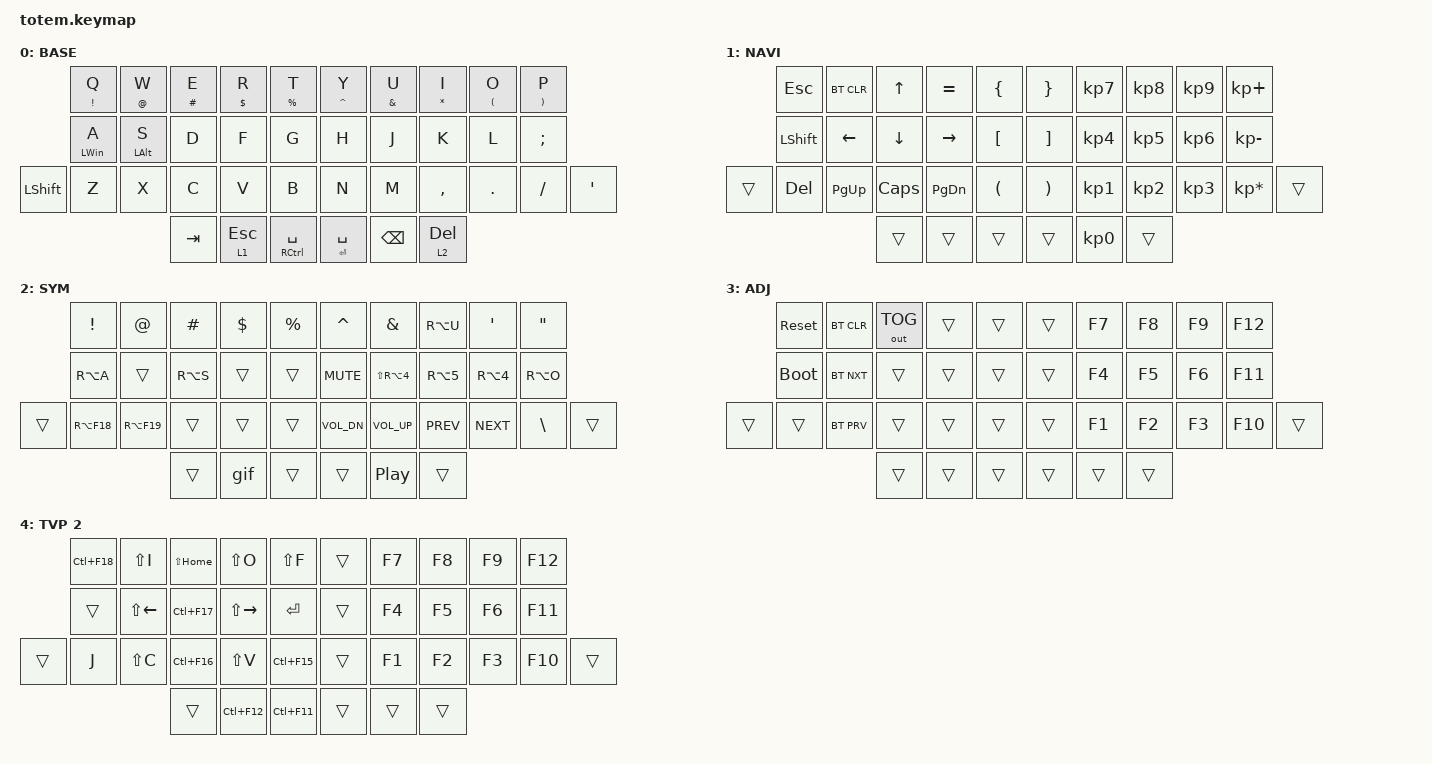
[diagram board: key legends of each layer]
//
//                                                        ▀▀▀▀▀     ▀▀▀▀▀          ▀▀█▀▀
//                                                        ▄▀▀▀▄  ▄  ▄▀▀▀▄  ▄  ▄▀▀▀▄  █  ▄▀▀▀▄
//                                                        █   █  █  █   █  █  █   █  █  █   █
//                                                         ▀▀▀   █   ▀▀▀   █   ▀▀▀   ▀   ▀▀▀
//                                                               █      ▄▄▄█▄▄▄    █   █  
//                                                               ▀      █  █  █     █▄█
//                                                             ▀▀▀▀▀    █  █  █      ▀
//                                                                      ▀  ▀  ▀
//
// ▄▄▄▄▄▄▄▄▄▄▄▄▄▄▄▄▄▄▄▄▄▄▄▄▄▄▄▄▄▄▄▄▄▄▄▄▄▄▄▄▄▄▄▄▄▄▄▄▄▄▄▄▄▄▄▄▄▄▄▄▄▄▄▄▄▄▄▄▄▄▄▄▄▄▄▄▄▄▄▄▄▄▄▄▄▄▄▄▄▄▄▄▄▄▄▄▄▄▄▄▄▄▄▄▄▄▄▄▄▄▄▄▄▄▄▄▄▄▄▄▄▄▄▄▄▄▄▄▄▄▄▄▄▄▄▄▄▄▄▄▄▄▄▄▄▄▄▄▄

#include <behaviors.dtsi>
#include <dt-bindings/zmk/bt.h>
#include <dt-bindings/zmk/keys.h>
#include <dt-bindings/zmk/outputs.h>

#define BASE 0
#define NAV  1
#define SYM  2
#define ADJ  3
#define TVP1 4
#define TVP2 5

&mt {
    quick-tap-ms = <100>;
    global-quick-tap;
    flavor = "tap-preferred";
    tapping-term-ms = <300>;
};

/ {
    combos {
        compatible = "zmk,combos";

        combo_capture {
            timeout-ms = <50>;
            key-positions = <13 14>;
            bindings = <&kp LG(LS(S))>;
        };

        combo_tvp {
            timeout-ms = <100>;
            key-positions = <11 12 13>;
            bindings = <&tog 0>;
        };
    };

    macros {
        gif: gif {
            label = "giphy";
            compatible = "zmk,behavior-macro";
            #binding-cells = <0>;
            bindings =
                <&macro_press>,
                <&kp LSHFT>,
                <&macro_tap>,
                <&kp N2>,
                <&macro_release>,
                <&kp LSHFT>,
                <&macro_tap>,
                <&kp G &kp I &kp F>;
        };
    };

    keymap {
        compatible = "zmk,keymap";

        // ▄▄▄▄▄▄▄▄▄▄▄▄▄▄▄▄▄▄▄▄▄▄▄▄▄▄▄▄▄▄▄▄▄▄▄▄▄▄▄▄▄▄▄▄▄▄▄▄▄▄▄▄▄▄▄▄▄▄▄▄▄▄▄▄▄▄▄▄▄▄▄▄▄▄▄▄▄▄▄▄▄▄▄▄▄▄▄▄▄▄▄▄▄▄▄▄▄▄▄▄▄▄▄▄▄▄▄▄▄▄▄▄▄▄▄▄▄▄▄▄▄▄▄▄▄▄▄▄▄▄▄▄▄▄▄▄▄▄▄▄▄▄▄▄▄▄▄▄▄

        base_layer {
            // ┏━━━━━━━━━━━━━━━━━━━━━━━━━━━━━━━━━━━━━━━┓

            label = "BASE";

            // ┗━━━━━━━━━━━━━━━━━━━━━━━━━━━━━━━━━━━━━━━┛
            //             ┏━━━━━━━━━━━┳━━━━━━━━━━━┳━━━━━━━━━━━┳━━━━━━━━━━━┳━━━━━━━━━━━┓   ┏━━━━━━━━━━━┳━━━━━━━━━━━┳━━━━━━━━━━━┳━━━━━━━━━━━┳━━━━━━━━━━━┓
            //             ┃     Q     ┃     W     ┃     F     ┃     P     ┃     G     ┃   ┃     J     ┃     L     ┃     U     ┃     Y     ┃     ;     ┃
            //             ┣━━━━━━━━━━━╋━━━━━━━━━━━╋━━━━━━━━━━━╋━━━━━━━━━━━╋━━━━━━━━━━━┫   ┣━━━━━━━━━━━╋━━━━━━━━━━━╋━━━━━━━━━━━╋━━━━━━━━━━━╋━━━━━━━━━━━┫
            //             ┃     A     ┃     R     ┃     S     ┃     T     ┃     D     ┃   ┃     H     ┃     N     ┃     E     ┃     I     ┃     O     ┃
            // ┏━━━━━━━━━━━╋━━━━━━━━━━━╋━━━━━━━━━━━╋━━━━━━━━━━━╋━━━━━━━━━━━╋━━━━━━━━━━━┫   ┣━━━━━━━━━━━╋━━━━━━━━━━━╋━━━━━━━━━━━╋━━━━━━━━━━━╋━━━━━━━━━━━╋━━━━━━━━━━━┓
            // ┃     Q     ┃     Z     ┃     X     ┃     C     ┃     V     ┃     B     ┃   ┃     K     ┃     M     ┃     ,     ┃     .     ┃     /     ┃     \     ┃
            // ┗━━━━━━━━━━━┻━━━━━━━━━━━┻━━━━━━━━━━━╋━━━━━━━━━━━╋━━━━━━━━━━━╋━━━━━━━━━━━┫   ┣━━━━━━━━━━━╋━━━━━━━━━━━╋━━━━━━━━━━━╋━━━━━━━━━━━┻━━━━━━━━━━━┻━━━━━━━━━━━┛
            //                                     ┃    DEL    ┃    TAB    ┃    SPC    ┃   ┃   ENTER   ┃           ┃   BSPC    ┃
            //                                     ┗━━━━━━━━━━━┻━━━━━━━━━━━┻━━━━━━━━━━━┛   ┗━━━━━━━━━━━┻━━━━━━━━━━━┻━━━━━━━━━━━┛

            bindings = <
                &mt EXCLAMATION Q  &mt AT_SIGN W   &mt HASH E  &mt DOLLAR R  &mt PERCENT T              &mt CARET Y    &mt AMPERSAND U  &mt ASTERISK I  &mt LEFT_PARENTHESIS O  &mt RIGHT_PARENTHESIS P
                &mt LEFT_WIN A     &mt LEFT_ALT S  &kp D       &kp F         &kp G                      &kp H          &kp J            &kp K           &kp L                   &kp SEMICOLON
&kp LEFT_SHIFT  &kp Z              &kp X           &kp C       &kp V         &kp B                      &kp N          &kp M            &kp COMMA       &kp PERIOD              &kp SLASH                &kp SQT
                                                   &kp TAB     &lt 1 ESCAPE  &mt RIGHT_CONTROL SPACE    &mt RET SPACE  &kp BACKSPACE    &lt 2 DEL
            >;
        };

        // ▄▄▄▄▄▄▄▄▄▄▄▄▄▄▄▄▄▄▄▄▄▄▄▄▄▄▄▄▄▄▄▄▄▄▄▄▄▄▄▄▄▄▄▄▄▄▄▄▄▄▄▄▄▄▄▄▄▄▄▄▄▄▄▄▄▄▄▄▄▄▄▄▄▄▄▄▄▄▄▄▄▄▄▄▄▄▄▄▄▄▄▄▄▄▄▄▄▄▄▄▄▄▄▄▄▄▄▄▄▄▄▄▄▄▄▄▄▄▄▄▄▄▄▄▄▄▄▄▄▄▄▄▄▄▄▄▄▄▄▄▄▄▄▄▄▄▄▄▄

        nav_layer {
            // ┏━━━━━━━━━━━━━━━━━━━━━━━━━━━━━━━━━━━━━━━┓

            label = "NAVI";

            // ┗━━━━━━━━━━━━━━━━━━━━━━━━━━━━━━━━━━━━━━━┛
            //             ┏━━━━━━━━━━━┳━━━━━━━━━━━┳━━━━━━━━━━━┳━━━━━━━━━━━┳━━━━━━━━━━━┓   ┏━━━━━━━━━━━┳━━━━━━━━━━━┳━━━━━━━━━━━┳━━━━━━━━━━━┳━━━━━━━━━━━┓
            //             ┃           ┃           ┃     UP    ┃           ┃     {     ┃   ┃     }     ┃     7     ┃     8     ┃     9     ┃     +     ┃
            //             ┣━━━━━━━━━━━╋━━━━━━━━━━━╋━━━━━━━━━━━╋━━━━━━━━━━━╋━━━━━━━━━━━┫   ┣━━━━━━━━━━━╋━━━━━━━━━━━╋━━━━━━━━━━━╋━━━━━━━━━━━╋━━━━━━━━━━━┫
            //             ┃   SHIFT   ┃   LEFT    ┃    DOWN   ┃   RIGHT   ┃     [     ┃   ┃     ]     ┃     4     ┃     5     ┃     6     ┃     -     ┃
            // ┏━━━━━━━━━━━╋━━━━━━━━━━━╋━━━━━━━━━━━╋━━━━━━━━━━━╋━━━━━━━━━━━╋━━━━━━━━━━━┫   ┣━━━━━━━━━━━╋━━━━━━━━━━━╋━━━━━━━━━━━╋━━━━━━━━━━━╋━━━━━━━━━━━╋━━━━━━━━━━━┓
            // ┃           ┃           ┃   P UP    ┃  C LOCK   ┃  P DOWN   ┃     (     ┃   ┃     )     ┃     1     ┃     2     ┃     3     ┃     *     ┃           ┃
            // ┗━━━━━━━━━━━┻━━━━━━━━━━━┻━━━━━━━━━━━╋━━━━━━━━━━━╋━━━━━━━━━━━╋━━━━━━━━━━━┫   ┣━━━━━━━━━━━╋━━━━━━━━━━━╋━━━━━━━━━━━╋━━━━━━━━━━━┻━━━━━━━━━━━┻━━━━━━━━━━━┛
            //                                     ┃           ┃    TAB    ┃    SPC    ┃   ┃    DEL    ┃     0     ┃           ┃
            //                                     ┗━━━━━━━━━━━┻━━━━━━━━━━━┻━━━━━━━━━━━┛   ┗━━━━━━━━━━━┻━━━━━━━━━━━┻━━━━━━━━━━━┛

            bindings = <
        &kp ESC    &bt BT_CLR  &kp UP    &kp EQUAL  &kp LBRC    &kp RBRC  &kp KP_N7  &kp KP_N8  &kp KP_N9  &kp KP_PLUS
        &kp LSHFT  &kp LEFT    &kp DOWN  &kp RIGHT  &kp LBKT    &kp RBKT  &kp KP_N4  &kp KP_N5  &kp KP_N6  &kp KP_MINUS
&trans  &kp DEL    &kp PG_UP   &kp CAPS  &kp PG_DN  &kp LPAR    &kp RPAR  &kp KP_N1  &kp KP_N2  &kp KP_N3  &kp KP_MULTIPLY  &trans
                               &trans    &trans     &trans      &trans    &kp KP_N0  &trans
            >;
        };

        // ▄▄▄▄▄▄▄▄▄▄▄▄▄▄▄▄▄▄▄▄▄▄▄▄▄▄▄▄▄▄▄▄▄▄▄▄▄▄▄▄▄▄▄▄▄▄▄▄▄▄▄▄▄▄▄▄▄▄▄▄▄▄▄▄▄▄▄▄▄▄▄▄▄▄▄▄▄▄▄▄▄▄▄▄▄▄▄▄▄▄▄▄▄▄▄▄▄▄▄▄▄▄▄▄▄▄▄▄▄▄▄▄▄▄▄▄▄▄▄▄▄▄▄▄▄▄▄▄▄▄▄▄▄▄▄▄▄▄▄▄▄▄▄▄▄▄▄▄▄

        sim_layer {
            // ┏━━━━━━━━━━━━━━━━━━━━━━━━━━━━━━━━━━━━━━━┓

            label = "SYM";

            // ┗━━━━━━━━━━━━━━━━━━━━━━━━━━━━━━━━━━━━━━━┛
            //             ┏━━━━━━━━━━━┳━━━━━━━━━━━┳━━━━━━━━━━━┳━━━━━━━━━━━┳━━━━━━━━━━━┓   ┏━━━━━━━━━━━┳━━━━━━━━━━━┳━━━━━━━━━━━┳━━━━━━━━━━━┳━━━━━━━━━━━┓
            //             ┃     !     ┃     @     ┃     #     ┃     $     ┃     %     ┃   ┃     ˆ     ┃     &     ┃     Ü     ┃     '     ┃     "     ┃
            //             ┣━━━━━━━━━━━╋━━━━━━━━━━━╋━━━━━━━━━━━╋━━━━━━━━━━━╋━━━━━━━━━━━┫   ┣━━━━━━━━━━━╋━━━━━━━━━━━╋━━━━━━━━━━━╋━━━━━━━━━━━╋━━━━━━━━━━━┫
            //             ┃     Ä     ┃           ┃    SZ     ┃           ┃           ┃   ┃   MUTE    ┃   YEN     ┃   EURO    ┃  POUND    ┃     Ö     ┃
            // ┏━━━━━━━━━━━╋━━━━━━━━━━━╋━━━━━━━━━━━╋━━━━━━━━━━━╋━━━━━━━━━━━╋━━━━━━━━━━━┫   ┣━━━━━━━━━━━╋━━━━━━━━━━━╋━━━━━━━━━━━╋━━━━━━━━━━━╋━━━━━━━━━━━╋━━━━━━━━━━━┓
            // ┃           ┃  EMAIL1   ┃  EMAIL2   ┃           ┃           ┃           ┃   ┃   VOL-    ┃   VOL+    ┃   LAST    ┃   NEXT    ┃     \     ┃           ┃
            // ┗━━━━━━━━━━━┻━━━━━━━━━━━┻━━━━━━━━━━━╋━━━━━━━━━━━╋━━━━━━━━━━━╋━━━━━━━━━━━┫   ┣━━━━━━━━━━━╋━━━━━━━━━━━╋━━━━━━━━━━━╋━━━━━━━━━━━┻━━━━━━━━━━━┻━━━━━━━━━━━┛
            //                                     ┃           ┃    GIF    ┃    ADJ    ┃   ┃           ┃           ┃           ┃
            //                                     ┗━━━━━━━━━━━┻━━━━━━━━━━━┻━━━━━━━━━━━┛   ┗━━━━━━━━━━━┻━━━━━━━━━━━┻━━━━━━━━━━━┛

            bindings = <
        &kp EXCL     &kp AT       &kp HASH   &kp DLLR  &kp PRCNT    &kp CARET     &kp AMPS        &kp RA(U)   &kp SQT     &kp DQT
        &kp RA(A)    &trans       &kp RA(S)  &trans    &trans       &kp C_MUTE    &kp LS(RA(N4))  &kp RA(N5)  &kp RA(N4)  &kp RA(O)
&trans  &kp RA(F18)  &kp RA(F19)  &trans     &trans    &trans       &kp C_VOL_DN  &kp C_VOL_UP    &kp C_PREV  &kp C_NEXT  &kp BSLH   &trans
                                  &trans     &gif      &trans       &trans        &kp C_PP        &trans
            >;
        };

        // ▄▄▄▄▄▄▄▄▄▄▄▄▄▄▄▄▄▄▄▄▄▄▄▄▄▄▄▄▄▄▄▄▄▄▄▄▄▄▄▄▄▄▄▄▄▄▄▄▄▄▄▄▄▄▄▄▄▄▄▄▄▄▄▄▄▄▄▄▄▄▄▄▄▄▄▄▄▄▄▄▄▄▄▄▄▄▄▄▄▄▄▄▄▄▄▄▄▄▄▄▄▄▄▄▄▄▄▄▄▄▄▄▄▄▄▄▄▄▄▄▄▄▄▄▄▄▄▄▄▄▄▄▄▄▄▄▄▄▄▄▄▄▄▄▄▄▄▄▄

        adjust_layer {
            // ┏━━━━━━━━━━━━━━━━━━━━━━━━━━━━━━━━━━━━━━━┓

            label = "ADJ";

            // ┗━━━━━━━━━━━━━━━━━━━━━━━━━━━━━━━━━━━━━━━┛
            //             ┏━━━━━━━━━━━┳━━━━━━━━━━━┳━━━━━━━━━━━┳━━━━━━━━━━━┳━━━━━━━━━━━┓   ┏━━━━━━━━━━━┳━━━━━━━━━━━┳━━━━━━━━━━━┳━━━━━━━━━━━┳━━━━━━━━━━━┓
            //             ┃   RESET   ┃ BT CLEAR  ┃  OUT TOG  ┃           ┃           ┃   ┃           ┃    F7     ┃    F8     ┃    F9     ┃    F12    ┃
            //             ┣━━━━━━━━━━━╋━━━━━━━━━━━╋━━━━━━━━━━━╋━━━━━━━━━━━╋━━━━━━━━━━━┫   ┣━━━━━━━━━━━╋━━━━━━━━━━━╋━━━━━━━━━━━╋━━━━━━━━━━━╋━━━━━━━━━━━┫
            //             ┃ BOOTLOAD  ┃ BT NEXT   ┃           ┃           ┃           ┃   ┃           ┃    F4     ┃    F5     ┃    F6     ┃    F11    ┃
            // ┏━━━━━━━━━━━╋━━━━━━━━━━━╋━━━━━━━━━━━╋━━━━━━━━━━━╋━━━━━━━━━━━╋━━━━━━━━━━━┫   ┣━━━━━━━━━━━╋━━━━━━━━━━━╋━━━━━━━━━━━╋━━━━━━━━━━━╋━━━━━━━━━━━╋━━━━━━━━━━━┓
            // ┃           ┃           ┃ BT PREV   ┃           ┃           ┃           ┃   ┃           ┃    F1     ┃    F2     ┃    F3     ┃    F10    ┃           ┃
            // ┗━━━━━━━━━━━┻━━━━━━━━━━━┻━━━━━━━━━━━╋━━━━━━━━━━━╋━━━━━━━━━━━╋━━━━━━━━━━━┫   ┣━━━━━━━━━━━╋━━━━━━━━━━━╋━━━━━━━━━━━╋━━━━━━━━━━━┻━━━━━━━━━━━┻━━━━━━━━━━━┛
            //                                     ┃           ┃           ┃           ┃   ┃           ┃           ┃           ┃
            //                                     ┗━━━━━━━━━━━┻━━━━━━━━━━━┻━━━━━━━━━━━┛   ┗━━━━━━━━━━━┻━━━━━━━━━━━┻━━━━━━━━━━━┛

            bindings = <
        &sys_reset   &bt BT_CLR  &out OUT_TOG  &trans  &trans    &trans  &kp F7  &kp F8  &kp F9  &kp F12
        &bootloader  &bt BT_NXT  &trans        &trans  &trans    &trans  &kp F4  &kp F5  &kp F6  &kp F11
&trans  &trans       &bt BT_PRV  &trans        &trans  &trans    &trans  &kp F1  &kp F2  &kp F3  &kp F10  &trans
                                 &trans        &trans  &trans    &trans  &trans  &trans
            >;
        };

        // ▄▄▄▄▄▄▄▄▄▄▄▄▄▄▄▄▄▄▄▄▄▄▄▄▄▄▄▄▄▄▄▄▄▄▄▄▄▄▄▄▄▄▄▄▄▄▄▄▄▄▄▄▄▄▄▄▄▄▄▄▄▄▄▄▄▄▄▄▄▄▄▄▄▄▄▄▄▄▄▄▄▄▄▄▄▄▄▄▄▄▄▄▄▄▄▄▄▄▄▄▄▄▄▄▄▄▄▄▄▄▄▄▄▄▄▄▄▄▄▄▄▄▄▄▄▄▄▄▄▄▄▄▄▄▄▄▄▄▄▄▄▄▄▄▄▄▄▄▄
        // ▄▄▄▄▄▄▄▄▄▄▄▄▄▄▄▄▄▄▄▄▄▄▄▄▄▄▄▄▄▄▄▄▄▄▄▄▄▄▄▄▄▄▄▄▄▄▄▄▄▄▄▄▄▄▄▄▄▄▄▄▄▄▄▄▄▄▄▄▄▄▄▄▄▄▄▄▄▄▄▄▄▄▄▄▄▄▄▄▄▄▄▄▄▄▄▄▄▄▄▄▄▄▄▄▄▄▄▄▄▄▄▄▄▄▄▄▄▄▄▄▄▄▄▄▄▄▄▄▄▄▄▄▄▄▄▄▄▄▄▄▄▄▄▄▄▄▄▄▄

        tvp2_layer {
            // ┏━━━━━━━━━━━━━━━━━━━━━━━━━━━━━━━━━━━━━━━┓

            label = "TVP 2";

            // ┗━━━━━━━━━━━━━━━━━━━━━━━━━━━━━━━━━━━━━━━┛
            //             ┏━━━━━━━━━━━┳━━━━━━━━━━━┳━━━━━━━━━━━┳━━━━━━━━━━━┳━━━━━━━━━━━┓   ┏━━━━━━━━━━━┳━━━━━━━━━━━┳━━━━━━━━━━━┳━━━━━━━━━━━┳━━━━━━━━━━━┓
            //             ┃ SOLO      ┃ TOGGLE IN ┃ RESET ROT ┃ TOGGLE OUT┃ TAKE SNAP ┃   ┃           ┃           ┃           ┃           ┃           ┃
            //             ┣━━━━━━━━━━━╋━━━━━━━━━━━╋━━━━━━━━━━━╋━━━━━━━━━━━╋━━━━━━━━━━━┫   ┣━━━━━━━━━━━╋━━━━━━━━━━━╋━━━━━━━━━━━╋━━━━━━━━━━━╋━━━━━━━━━━━┫
            //             ┃ ---       ┃ LAST KEY  ┃ NEW KEY   ┃ NEXT KEY  ┃ ENTER     ┃   ┃           ┃           ┃           ┃           ┃           ┃
            // ┏━━━━━━━━━━━╋━━━━━━━━━━━╋━━━━━━━━━━━╋━━━━━━━━━━━╋━━━━━━━━━━━╋━━━━━━━━━━━┫   ┣━━━━━━━━━━━╋━━━━━━━━━━━╋━━━━━━━━━━━╋━━━━━━━━━━━╋━━━━━━━━━━━╋━━━━━━━━━━━┓
            // ┃           ┃ FULLSCR   ┃ CPY2BRUSH ┃ DEL HEAD  ┃ PSTinPLACE┃ BOOK MARK ┃   ┃           ┃           ┃           ┃           ┃           ┃           ┃
            // ┗━━━━━━━━━━━┻━━━━━━━━━━━┻━━━━━━━━━━━╋━━━━━━━━━━━╋━━━━━━━━━━━╋━━━━━━━━━━━┫   ┣━━━━━━━━━━━╋━━━━━━━━━━━╋━━━━━━━━━━━╋━━━━━━━━━━━┻━━━━━━━━━━━┻━━━━━━━━━━━┛
            //                                     ┃           ┃ REDO/SAV1 ┃TRANS/WARP ┃   ┃           ┃           ┃           ┃
            //                                     ┗━━━━━━━━━━━┻━━━━━━━━━━━┻━━━━━━━━━━━┛   ┗━━━━━━━━━━━┻━━━━━━━━━━━┻━━━━━━━━━━━┛

            bindings = <
        &kp LC(F18)  &kp LS(I)     &kp LS(HOME)  &kp LS(O)      &kp LS(F)      &trans  &kp F7  &kp F8  &kp F9  &kp F12
        &trans       &kp LS(LEFT)  &kp LC(F17)   &kp LS(RIGHT)  &kp RET        &trans  &kp F4  &kp F5  &kp F6  &kp F11
&trans  &kp J        &kp LS(C)     &kp LC(F16)   &kp LS(V)      &kp LC(F15)    &trans  &kp F1  &kp F2  &kp F3  &kp F10  &trans
                                   &trans        &kp LC(F12)    &kp LC(F11)    &trans  &trans  &trans
            >;
        };
    };
};
